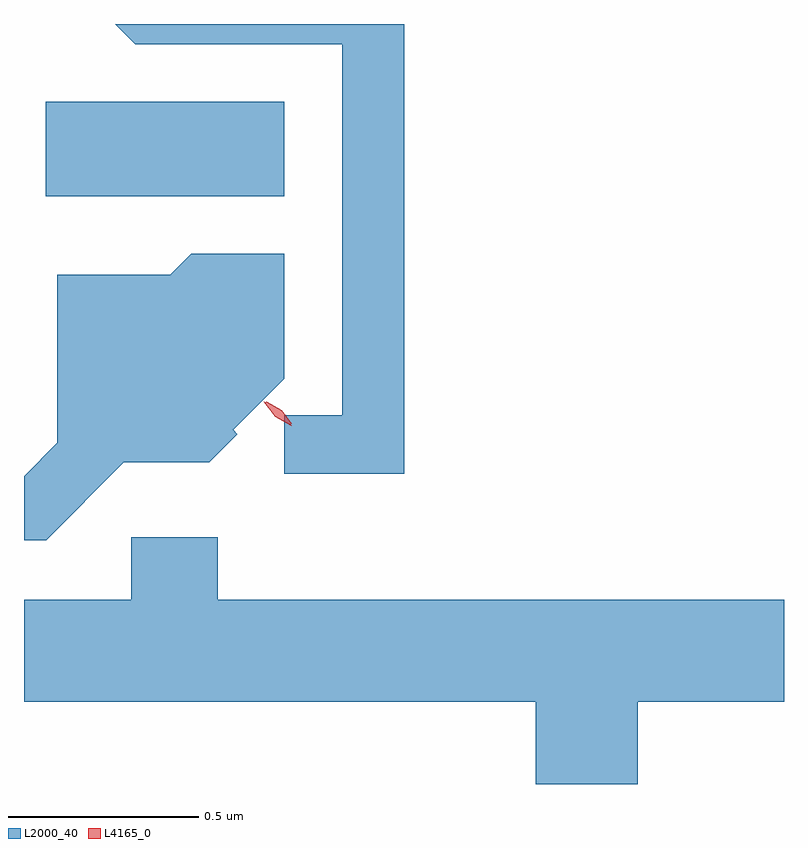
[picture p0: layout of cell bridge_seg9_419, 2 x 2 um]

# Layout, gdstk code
import gdstk
lib = gdstk.Library(unit=1e-6, precision=1e-09)
def R(c, l, rs):  # rectangles x0, y0, x1, y1
    for r in rs: c.add(gdstk.rectangle(r[:2], r[2:], *l))
def P(c, l, *ps):  # polygons
    for p in ps: c.add(gdstk.Polygon(p, *l))
L2000_40 = (2000, 40)
L4165_0 = (4165, 0)

bridge_seg9_419 = lib.new_cell('bridge_seg9_419')
R(bridge_seg9_419, L2000_40, [(653.346,2022.006,653.974,2022.254)])
P(bridge_seg9_419, L2000_40, [(654.289,2022.459),(653.529,2022.459),(653.582,2022.406),(654.126,2022.406),(654.126,2021.43),(653.974,2021.43),(653.974,2021.276),(654.289,2021.276)],
  [(653.552,2021.306),(653.776,2021.306),(653.85,2021.38),(653.84,2021.391),(653.974,2021.526),(653.974,2021.854),(653.729,2021.854),(653.674,2021.799),(653.376,2021.799),(653.376,2021.357),(653.289,2021.269),(653.289,2021.101),(653.347,2021.101)],
  [(654.904,2020.676),(655.289,2020.676),(655.289,2020.944),(653.799,2020.944),(653.799,2021.109),(653.571,2021.109),(653.571,2020.944),(653.289,2020.944),(653.289,2020.676),(654.636,2020.676),(654.636,2020.459),(654.904,2020.459)])
P(bridge_seg9_419, L4165_0, [(653.992,2021.402),(653.95,2021.426),(653.92,2021.465),(653.92,2021.465),(653.921,2021.465),(653.963,2021.441),(653.993,2021.402),(653.993,2021.402)],
  [(653.992,2021.407),(653.954,2021.428),(653.927,2021.464),(653.927,2021.465),(653.928,2021.465),(653.967,2021.443),(653.993,2021.407),(653.993,2021.407)])

lib.write_gds('bridge_seg9_419.gds')
